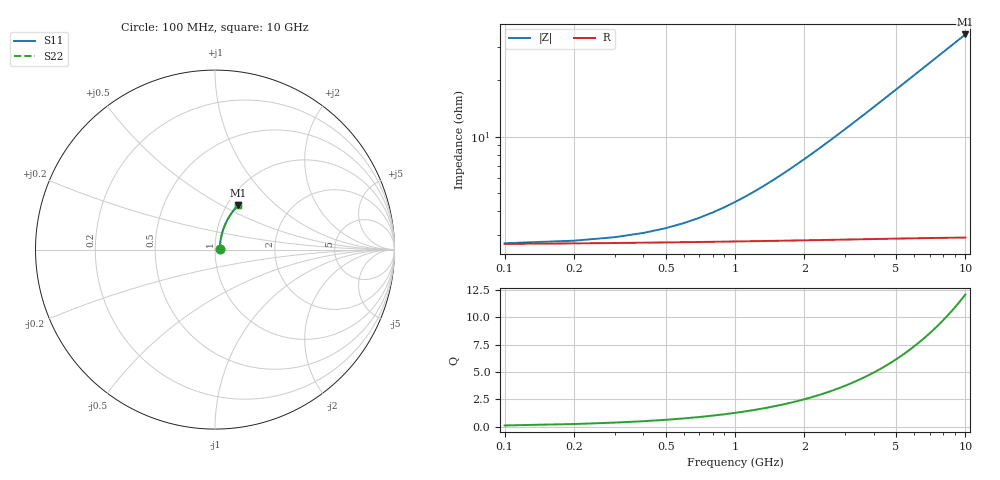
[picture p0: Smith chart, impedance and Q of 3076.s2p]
# Hz S RI R 50.00
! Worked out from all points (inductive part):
!   100 points, 100 MHz to 10 GHz, reference 50 ohm
!   read as one part in series: L = 560 pH near 2.4 GHz
!   highest Q = 12.1 at 10 GHz (marker M1), where L = 555 pH
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1e8  0.0261 0.00283  0.9739 -0.00386  0.9739 -0.00386  0.0261 0.00283
2e8  0.0263 0.00566  0.9737 -0.00771  0.9737 -0.00771  0.0263 0.00566
3e8  0.0264 0.00849  0.9736 -0.0116  0.9736 -0.0116  0.0264 0.00849
5e8  0.0268 0.0141  0.9732 -0.0193  0.9732 -0.0193  0.0268 0.0141
7e8  0.0272 0.0198  0.9728 -0.0269  0.9728 -0.0269  0.0272 0.0198
1.3e9  0.0289 0.0366  0.971 -0.05  0.971 -0.05  0.0289 0.0366
1.5e9  0.0296 0.0422  0.9703 -0.0576  0.9703 -0.0576  0.0296 0.0422
1.8e9  0.0308 0.0506  0.969 -0.069  0.969 -0.069  0.0308 0.0506
2.1e9  0.0322 0.0589  0.9676 -0.0805  0.9676 -0.0805  0.0322 0.0589
2.5e9  0.0343 0.07  0.9653 -0.0956  0.9653 -0.0956  0.0343 0.07
2.9e9  0.0368 0.0809  0.9627 -0.1106  0.9627 -0.1106  0.0368 0.0809
3.4e9  0.0404 0.0945  0.959 -0.1293  0.959 -0.1293  0.0404 0.0945
3.8e9  0.0436 0.1052  0.9556 -0.1441  0.9556 -0.1441  0.0436 0.1052
4.2e9  0.0471 0.1157  0.9519 -0.1588  0.9519 -0.1588  0.0471 0.1157
4.6e9  0.051 0.1261  0.9479 -0.1733  0.9479 -0.1733  0.051 0.1261
5.1e9  0.0562 0.1389  0.9424 -0.1913  0.9424 -0.1913  0.0562 0.1389
5.9e9  0.0656 0.1589  0.9325 -0.2194  0.9325 -0.2194  0.0656 0.1589
6.7e9  0.0761 0.1781  0.9215 -0.2469  0.9215 -0.2469  0.0761 0.1781
7.5e9  0.0876 0.1964  0.9093 -0.2735  0.9093 -0.2735  0.0876 0.1964
8.4e9  0.1018 0.216  0.8944 -0.3024  0.8944 -0.3024  0.1018 0.216
9.2e9  0.1153 0.2324  0.8801 -0.327  0.8801 -0.327  0.1153 0.2324
1e10  0.1296 0.2477  0.8649 -0.3507  0.8649 -0.3507  0.1296 0.2477
